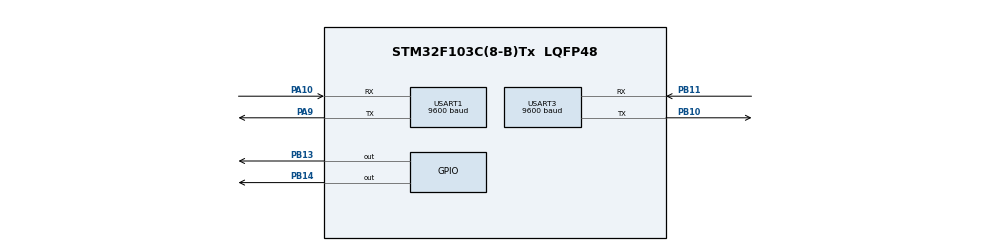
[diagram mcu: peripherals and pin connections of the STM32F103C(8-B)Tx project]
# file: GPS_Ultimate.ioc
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Dma.Request0=USART3_RX
Dma.USART3_RX.0.Direction=DMA_PERIPH_TO_MEMORY
Dma.USART3_RX.0.Instance=DMA1_Channel3
Dma.USART3_RX.0.MemDataAlignment=DMA_MDATAALIGN_BYTE
Dma.USART3_RX.0.MemInc=DMA_MINC_ENABLE
Dma.USART3_RX.0.Mode=DMA_NORMAL
Dma.USART3_RX.0.PeriphDataAlignment=DMA_PDATAALIGN_BYTE
Dma.USART3_RX.0.PeriphInc=DMA_PINC_DISABLE
Dma.USART3_RX.0.Priority=DMA_PRIORITY_LOW
Mcu.Family=STM32F1
Mcu.Name=STM32F103C(8-B)Tx
Mcu.Package=LQFP48
NVIC.DMA1_Channel3_IRQn=true\:0\:0\:false\:false\:true\:false\:true\:true
NVIC.PriorityGroup=NVIC_PRIORITYGROUP_4
NVIC.USART1_IRQn=true\:0\:0\:false\:false\:true\:true\:true\:true
NVIC.USART3_IRQn=true\:0\:0\:false\:false\:true\:true\:true\:true
PA10.Mode=Asynchronous
PA10.Signal=USART1_RX
PA13.Mode=Serial_Wire
PA13.Signal=SYS_JTMS-SWDIO
PA14.Mode=Serial_Wire
PA14.Signal=SYS_JTCK-SWCLK
PA9.Mode=Asynchronous
PA9.Signal=USART1_TX
PB10.Mode=Asynchronous
PB10.Signal=USART3_TX
PB11.Mode=Asynchronous
PB11.Signal=USART3_RX
PB13.Signal=GPIO_Output
PB14.Signal=GPIO_Output
ProjectManager.HeapSize=0x200
ProjectManager.StackSize=0x400
ProjectManager.TargetToolchain=STM32CubeIDE
RCC.APB1Freq_Value=8000000
RCC.APB2Freq_Value=8000000
USART1.BaudRate=9600
USART1.VirtualMode=VM_ASYNC
USART3.BaudRate=9600
USART3.VirtualMode=VM_ASYNC
board=custom

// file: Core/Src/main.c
/* USER CODE BEGIN Header */
/**
  ******************************************************************************
  * @file           : main.c
  * @brief          : Main program body
  ******************************************************************************
  * @attention
  *
  * Copyright (c) 2023 STMicroelectronics.
  * All rights reserved.
  *
  * This software is licensed under terms that can be found in the LICENSE file
  * in the root directory of this software component.
  * If no LICENSE file comes with this software, it is provided AS-IS.
  *
  ******************************************************************************
  */
/* USER CODE END Header */
#include "main.h"

/* USER CODE BEGIN Includes */
#include "lwgps/lwgps.h"

#include "stdbool.h"
/* USER CODE END Includes */

UART_HandleTypeDef huart1;
UART_HandleTypeDef huart3;
DMA_HandleTypeDef hdma_usart3_rx;

/* USER CODE BEGIN PV */
int sayac=0;
/* USER CODE END PV */

void SystemClock_Config(void);
static void MX_GPIO_Init(void);
static void MX_DMA_Init(void);
static void MX_USART3_UART_Init(void);
static void MX_USART1_UART_Init(void);

/* USER CODE BEGIN 0 */
lwgps_t gps;

bool gps_ok=false;

uint8_t rx_buffer[128];
uint8_t rx_index = 0;
uint8_t rx_data = 0;

void HAL_UART_RxCpltCallback(UART_HandleTypeDef *huart)
{
	if(huart == &huart3) {
		if(rx_data != '\n' && rx_index < sizeof(rx_buffer)) {
			rx_buffer[rx_index++] = rx_data;
		} else {
			lwgps_process(&gps, rx_buffer, rx_index+1);
			rx_index = 0;
			rx_data = 0;
		}
		sayac++;
		gps_ok = true;
		HAL_UART_Receive_DMA(&huart3, &rx_data, 1);
	}
}
/* USER CODE END 0 */

int main(void)
{

  /* MCU Configuration--------------------------------------------------------*/

  /* Reset of all peripherals, Initializes the Flash interface and the Systick. */
  HAL_Init();

  /* Configure the system clock */
  SystemClock_Config();

  /* Initialize all configured peripherals */
  MX_GPIO_Init();
  MX_DMA_Init();
  MX_USART3_UART_Init();
  MX_USART1_UART_Init();
  /* USER CODE BEGIN 2 */

  lwgps_init(&gps);
  HAL_UART_Receive_DMA(&huart3, &rx_data, 1);

  /* USER CODE END 2 */

  /* Infinite loop */
  while (1)
  {

  }
}

void SystemClock_Config(void)
{
  RCC_OscInitTypeDef RCC_OscInitStruct = {0};
  RCC_ClkInitTypeDef RCC_ClkInitStruct = {0};

  /** Initializes the RCC Oscillators according to the specified parameters
  * in the RCC_OscInitTypeDef structure.
  */
  RCC_OscInitStruct.OscillatorType = RCC_OSCILLATORTYPE_HSI;
  RCC_OscInitStruct.HSIState = RCC_HSI_ON;
  RCC_OscInitStruct.HSICalibrationValue = RCC_HSICALIBRATION_DEFAULT;
  RCC_OscInitStruct.PLL.PLLState = RCC_PLL_NONE;
  if (HAL_RCC_OscConfig(&RCC_OscInitStruct) != HAL_OK)
  {
    Error_Handler();
  }

  /** Initializes the CPU, AHB and APB buses clocks
  */
  RCC_ClkInitStruct.ClockType = RCC_CLOCKTYPE_HCLK|RCC_CLOCKTYPE_SYSCLK
                              |RCC_CLOCKTYPE_PCLK1|RCC_CLOCKTYPE_PCLK2;
  RCC_ClkInitStruct.SYSCLKSource = RCC_SYSCLKSOURCE_HSI;
  RCC_ClkInitStruct.AHBCLKDivider = RCC_SYSCLK_DIV1;
  RCC_ClkInitStruct.APB1CLKDivider = RCC_HCLK_DIV1;
  RCC_ClkInitStruct.APB2CLKDivider = RCC_HCLK_DIV1;

  if (HAL_RCC_ClockConfig(&RCC_ClkInitStruct, FLASH_LATENCY_0) != HAL_OK)
  {
    Error_Handler();
  }
}

static void MX_USART1_UART_Init(void)
{

  huart1.Instance = USART1;
  huart1.Init.BaudRate = 9600;
  huart1.Init.WordLength = UART_WORDLENGTH_8B;
  huart1.Init.StopBits = UART_STOPBITS_1;
  huart1.Init.Parity = UART_PARITY_NONE;
  huart1.Init.Mode = UART_MODE_TX_RX;
  huart1.Init.HwFlowCtl = UART_HWCONTROL_NONE;
  huart1.Init.OverSampling = UART_OVERSAMPLING_16;
  if (HAL_UART_Init(&huart1) != HAL_OK)
  {
    Error_Handler();
  }

}

static void MX_USART3_UART_Init(void)
{

  huart3.Instance = USART3;
  huart3.Init.BaudRate = 9600;
  huart3.Init.WordLength = UART_WORDLENGTH_8B;
  huart3.Init.StopBits = UART_STOPBITS_1;
  huart3.Init.Parity = UART_PARITY_NONE;
  huart3.Init.Mode = UART_MODE_TX_RX;
  huart3.Init.HwFlowCtl = UART_HWCONTROL_NONE;
  huart3.Init.OverSampling = UART_OVERSAMPLING_16;
  if (HAL_UART_Init(&huart3) != HAL_OK)
  {
    Error_Handler();
  }

}

static void MX_DMA_Init(void)
{

  /* DMA controller clock enable */
  __HAL_RCC_DMA1_CLK_ENABLE();

  /* DMA interrupt init */
  /* DMA1_Channel3_IRQn interrupt configuration */
  HAL_NVIC_SetPriority(DMA1_Channel3_IRQn, 0, 0);
  HAL_NVIC_EnableIRQ(DMA1_Channel3_IRQn);

}

static void MX_GPIO_Init(void)
{
  GPIO_InitTypeDef GPIO_InitStruct = {0};

  /* GPIO Ports Clock Enable */
  __HAL_RCC_GPIOB_CLK_ENABLE();
  __HAL_RCC_GPIOA_CLK_ENABLE();

  /*Configure GPIO pin Output Level */
  HAL_GPIO_WritePin(GPIOB, GPIO_PIN_13|GPIO_PIN_14, GPIO_PIN_RESET);

  /*Configure GPIO pins : PB13 PB14 */
  GPIO_InitStruct.Pin = GPIO_PIN_13|GPIO_PIN_14;
  GPIO_InitStruct.Mode = GPIO_MODE_OUTPUT_PP;
  GPIO_InitStruct.Pull = GPIO_NOPULL;
  GPIO_InitStruct.Speed = GPIO_SPEED_FREQ_LOW;
  HAL_GPIO_Init(GPIOB, &GPIO_InitStruct);

}

void Error_Handler(void)
{
  __disable_irq();
  while (1)
  {
  }
}
